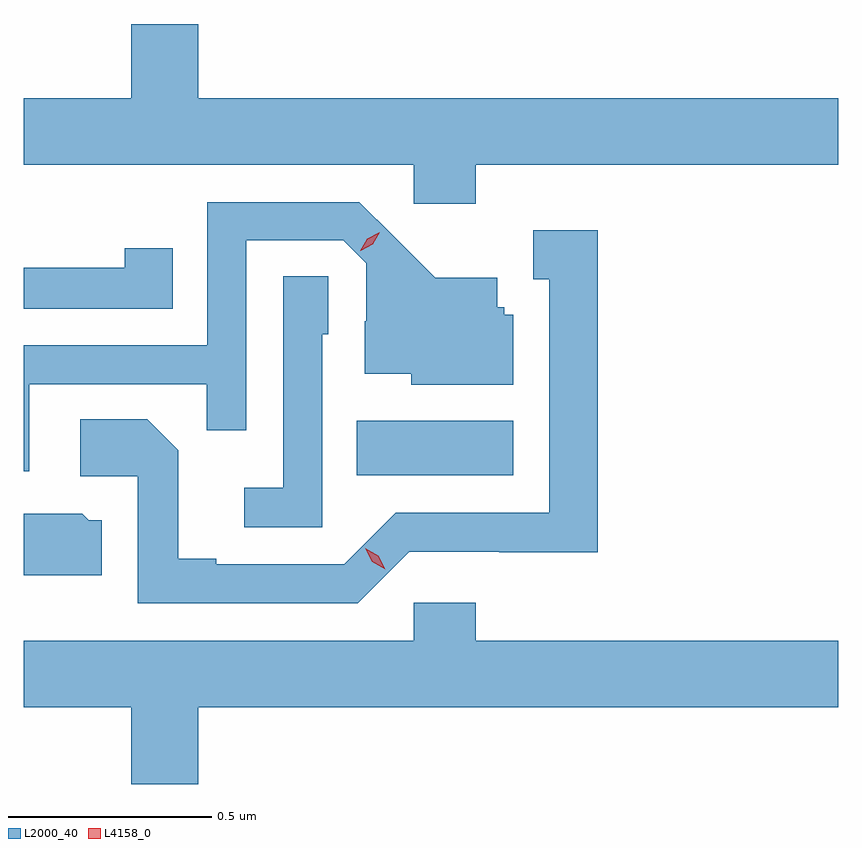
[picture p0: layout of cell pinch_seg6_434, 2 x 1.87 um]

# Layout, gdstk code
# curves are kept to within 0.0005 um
import gdstk
lib = gdstk.Library(unit=1e-6, precision=1e-09)
def R(c, l, rs):  # rectangles x0, y0, x1, y1
    for r in rs: c.add(gdstk.rectangle(r[:2], r[2:], *l))
def P(c, l, *ps):  # polygons
    for p in ps: c.add(gdstk.Polygon(p, *l))
L2000_40 = (2000, 40)
L4158_0 = (4158, 0)

pinch_seg6_434 = lib.new_cell('pinch_seg6_434')
R(pinch_seg6_434, L2000_40, [(693.034,923.93,693.418,924.064)])
P(pinch_seg6_434, L2000_40, [(693.326,924.692),(694.216,924.692),(694.216,924.856),(692.644,924.856),(692.644,925.038),(692.48,925.038),(692.48,924.856),(692.216,924.856),(692.216,924.692),(693.174,924.692),(693.174,924.597),(693.326,924.597)],
  [(692.229,924.153),(692.665,924.153),(692.665,924.04),(692.763,924.04),(692.763,924.507),(693,924.507),(693.057,924.45),(693.057,924.308),(693.053,924.308),(693.053,924.179),(693.168,924.179),(693.168,924.152),(693.418,924.152),(693.418,924.324),(693.396,924.324),(693.396,924.342),(693.379,924.342),(693.379,924.415),(693.227,924.415),(693.04,924.6),(692.667,924.6),(692.667,924.249),(692.216,924.249),(692.216,923.94),(692.229,923.94)],
  [(693.162,923.742),(693.384,923.742),(693.384,923.741),(693.625,923.741),(693.625,924.532),(693.467,924.532),(693.467,924.411),(693.506,924.411),(693.506,923.838),(693.129,923.838),(693.003,923.712),(692.689,923.712),(692.689,923.725),(692.595,923.725),(692.595,923.992),(692.519,924.068),(692.355,924.068),(692.355,923.928),(692.496,923.928),(692.496,923.616),(693.036,923.616)],
  [(692.582,924.487),(692.464,924.487),(692.464,924.44),(692.216,924.44),(692.216,924.339),(692.582,924.339)],
  [(692.949,924.276),(692.964,924.276),(692.964,924.419),(692.853,924.419),(692.853,923.899),(692.757,923.899),(692.757,923.802),(692.949,923.802)],
  [(692.407,923.82),(692.376,923.82),(692.36,923.836),(692.226,923.836),(692.226,923.835),(692.216,923.835),(692.216,923.684),(692.407,923.684)],
  [(692.644,923.36),(694.216,923.36),(694.216,923.524),(693.326,923.524),(693.326,923.617),(693.174,923.617),(693.174,923.524),(692.216,923.524),(692.216,923.36),(692.48,923.36),(692.48,923.172),(692.644,923.172)])
P(pinch_seg6_434, L4158_0, [(693.104,923.699),(693.072,923.718),(693.055,923.751),(693.055,923.751),(693.055,923.751),(693.087,923.732),(693.104,923.699),(693.104,923.699)],
  [(693.042,924.481),(693.042,924.481),(693.059,924.511),(693.09,924.527),(693.09,924.527),(693.09,924.527),(693.073,924.497),(693.043,924.481)])

lib.write_gds('pinch_seg6_434.gds')
